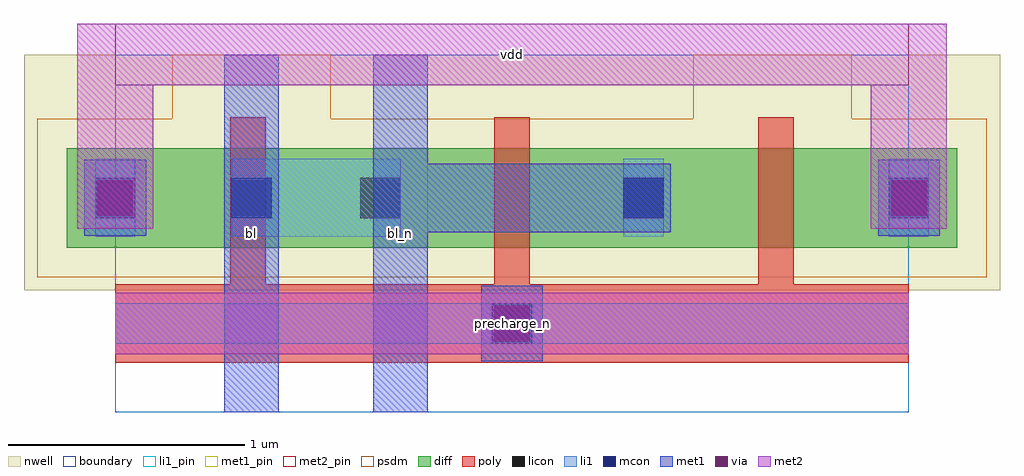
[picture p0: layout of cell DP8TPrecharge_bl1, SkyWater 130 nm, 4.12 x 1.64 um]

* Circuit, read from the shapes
.subckt DP8TPrecharge_bl1 bl bl_n precharge_n vdd
XM1 bl precharge_n vdd n1 sky130_fd_pr__pfet_01v8 w=0.42 l=0.15
XM2 bl_n precharge_n bl n1 sky130_fd_pr__pfet_01v8 w=0.42 l=0.15
XM3 vdd precharge_n bl_n n1 sky130_fd_pr__pfet_01v8 w=0.42 l=0.15
.ends

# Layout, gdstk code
import gdstk
lib = gdstk.Library(unit=1e-6, precision=1e-09)
def R(c, l, rs):  # rectangles x0, y0, x1, y1
    for r in rs: c.add(gdstk.rectangle(r[:2], r[2:], *l))
def P(c, l, *ps):  # polygons
    for p in ps: c.add(gdstk.Polygon(p, *l))
nwell = (64, 20)
diff = (65, 20)
poly = (66, 20)
licon = (66, 44)
li1_pin = (67, 16)
li1 = (67, 20)
mcon = (67, 44)
met1_pin = (68, 16)
met1 = (68, 20)
via = (68, 44)
met2_pin = (69, 16)
met2 = (69, 20)
psdm = (94, 20)
boundary = (235, 4)

dp8tprecharge_bl1 = lib.new_cell('DP8TPrecharge_bl1')
R(dp8tprecharge_bl1, nwell, [(-0.385,0.515,3.735,1.51)])
R(dp8tprecharge_bl1, diff, [(-0.205,0.695,3.555,1.115)])
P(dp8tprecharge_bl1, poly, [(0,0.21),(0,0.54),(0.485,0.54),(0.485,1.245),(0.635,1.245),(0.635,0.54),(1.6,0.54),(1.6,1.245),(1.75,1.245),(1.75,0.54),(2.715,0.54),(2.715,1.245),(2.865,1.245),(2.865,0.54),(3.35,0.54),(3.35,0.21)])
R(dp8tprecharge_bl1, licon, [(1.59,0.29,1.76,0.46), (-0.085,0.82,0.085,0.99), (1.035,0.82,1.205,0.99), (2.145,0.82,2.315,0.99), (3.265,0.82,3.435,0.99)])
R(dp8tprecharge_bl1, li1_pin, [(0,0.29,3.35,0.46)])
R(dp8tprecharge_bl1, li1, [(0,0.29,3.35,0.46), (-0.085,0.74,0.085,1.07), (0.49,0.74,1.205,1.07), (2.145,0.74,2.315,1.07), (3.265,0.74,3.435,1.07)])
R(dp8tprecharge_bl1, mcon, [(1.59,0.29,1.76,0.46), (-0.085,0.82,0.085,0.99), (0.49,0.82,0.66,0.99), (2.145,0.82,2.315,0.99), (3.265,0.82,3.435,0.99)])
R(dp8tprecharge_bl1, met1_pin, [(0.46,0,0.69,1.51), (1.09,0,1.32,1.51)])
R(dp8tprecharge_bl1, met1, [(0.46,0,0.69,1.51), (1.545,0.215,1.805,0.535), (-0.13,0.745,0.13,1.065), (3.22,0.745,3.48,1.065)])
P(dp8tprecharge_bl1, met1, [(1.09,0),(1.09,1.51),(1.32,1.51),(1.32,1.05),(2.345,1.05),(2.345,0.76),(1.32,0.76),(1.32,0)])
R(dp8tprecharge_bl1, via, [(1.6,0.3,1.75,0.45), (-0.075,0.83,0.075,0.98), (3.275,0.83,3.425,0.98)])
R(dp8tprecharge_bl1, met2_pin, [(0,0.245,3.35,0.505), (0,1.38,3.35,1.64)])
R(dp8tprecharge_bl1, met2, [(0,0.245,3.35,0.505)])
P(dp8tprecharge_bl1, met2, [(-0.16,0.775),(-0.16,1.64),(3.51,1.64),(3.51,0.775),(3.19,0.775),(3.19,1.38),(0.16,1.38),(0.16,0.775)])
P(dp8tprecharge_bl1, psdm, [(-0.33,0.57),(-0.33,1.24),(0.24,1.24),(0.24,1.51),(0.91,1.51),(0.91,1.24),(2.44,1.24),(2.44,1.51),(3.11,1.51),(3.11,1.24),(3.68,1.24),(3.68,0.57)])
R(dp8tprecharge_bl1, boundary, [(0,0,3.35,1.51)])
dp8tprecharge_bl1.add(gdstk.Label('precharge_n', (1.675,0.375), layer=69, texttype=16))
dp8tprecharge_bl1.add(gdstk.Label('vdd', (1.675,1.51), layer=69, texttype=16))
dp8tprecharge_bl1.add(gdstk.Label('bl', (0.575,0.755), layer=68, texttype=16))
dp8tprecharge_bl1.add(gdstk.Label('bl_n', (1.205,0.755), layer=68, texttype=16))
dp8tprecharge_bl1.add(gdstk.Label('precharge_n', (1.675,0.375), layer=67, texttype=16))

lib.write_gds('DP8TPrecharge_bl1.gds')
